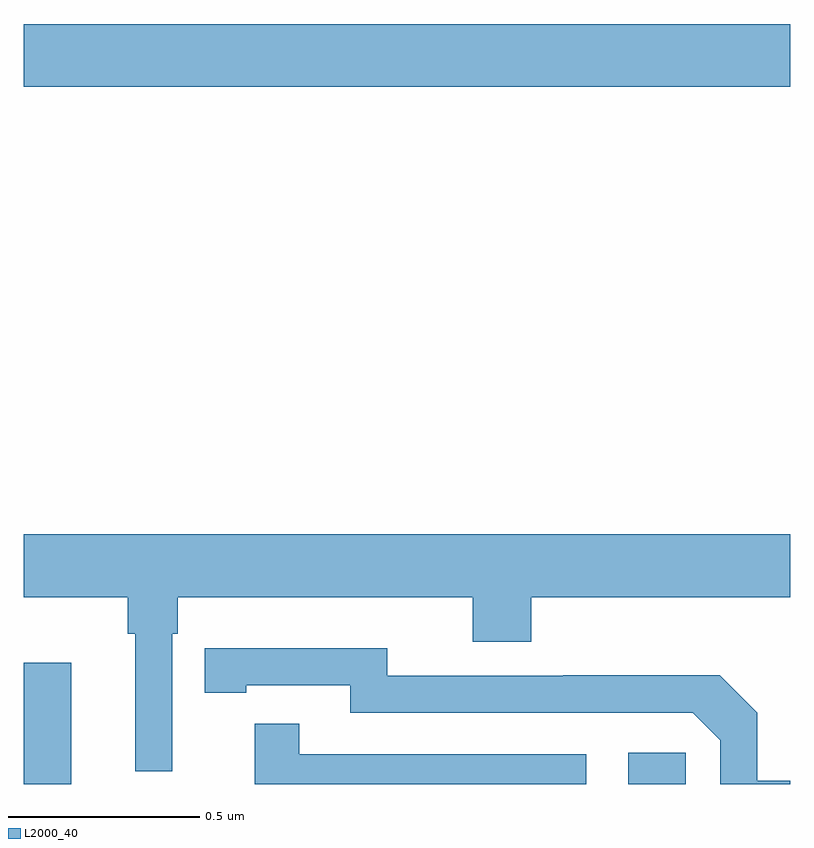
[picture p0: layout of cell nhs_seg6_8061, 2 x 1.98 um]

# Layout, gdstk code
import gdstk
lib = gdstk.Library(unit=1e-6, precision=1e-09)
def R(c, l, rs):  # rectangles x0, y0, x1, y1
    for r in rs: c.add(gdstk.rectangle(r[:2], r[2:], *l))
def P(c, l, *ps):  # polygons
    for p in ps: c.add(gdstk.Polygon(p, *l))
L2000_40 = (2000, 40)

nhs_seg6_8061 = lib.new_cell('nhs_seg6_8061')
R(nhs_seg6_8061, L2000_40, [(216,961.5,216.124,961.816), (217.578,961.5,217.728,961.582), (216,963.32,218,963.484)])
P(nhs_seg6_8061, L2000_40, [(216,961.988),(216.271,961.988),(216.271,961.892),(216.29,961.892),(216.29,961.533),(216.387,961.533),(216.387,961.892),(216.401,961.892),(216.401,961.988),(217.172,961.988),(217.172,961.871),(217.325,961.871),(217.325,961.988),(218,961.988),(218,962.152),(216,962.152)],
  [(218,961.509),(217.914,961.509),(217.914,961.686),(217.816,961.784),(217.408,961.784),(217.408,961.782),(216.948,961.782),(216.948,961.855),(216.58,961.855),(216.58,961.854),(216.472,961.854),(216.472,961.738),(216.58,961.738),(216.58,961.758),(216.852,961.758),(216.852,961.686),(217.746,961.686),(217.818,961.614),(217.818,961.5),(218,961.5)],
  [(217.468,961.578),(216.719,961.578),(216.719,961.657),(216.602,961.657),(216.602,961.5),(217.468,961.5)])

lib.write_gds('nhs_seg6_8061.gds')
